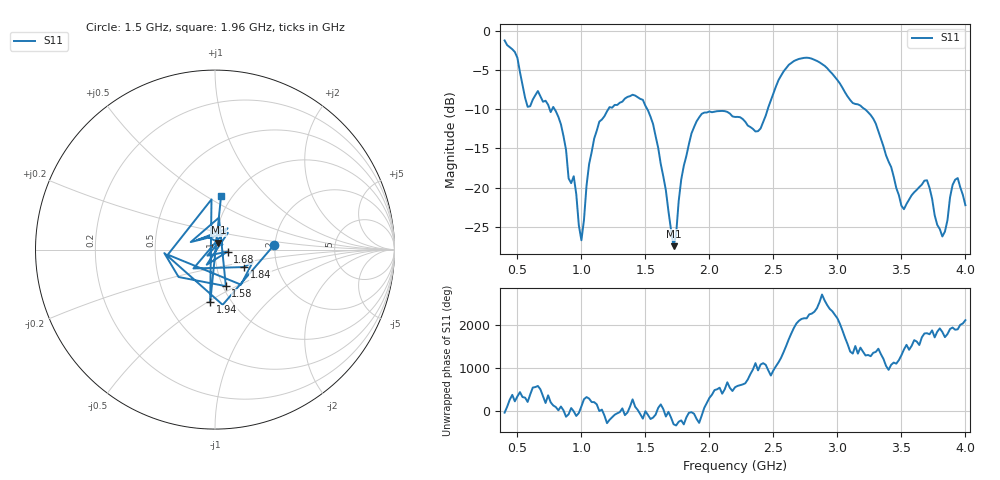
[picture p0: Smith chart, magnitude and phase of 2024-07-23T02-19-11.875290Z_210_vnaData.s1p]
!Created with skrf (http://scikit-rf.org).
# Hz S RI R 50.0
!freq ReS11 ImS11
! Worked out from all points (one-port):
!   181 points, 400 MHz to 4 GHz, reference 50 ohm
!   lowest |S11| = -27.4 dB at 1.72 GHz (marker M1), VSWR 1.09, Z = 51.8 + j3.94 ohm
!   |S11| at or under -10 dB: 790.5 MHz to 1.21 GHz (419.8 MHz wide, 42 % of centre); 1.515 GHz to 2.456 GHz (941.1 MHz wide, 47.4 % of centre); 3.214 GHz to end of sweep (the widest 3 of 4)
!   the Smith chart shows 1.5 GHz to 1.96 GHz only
!   S11 on the Smith chart (normalised r, x): 1.5 GHz: 1.98, +0.12; 1.58 GHz: 1.03, -0.44; 1.68 GHz: 1.15, -0.03; 1.84 GHz: 1.36, -0.27; 1.94 GHz: 0.80, -0.52; 1.96 GHz: 0.89, +0.58
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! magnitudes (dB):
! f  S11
! 400 MHz  -1.3
! 500 MHz  -3.5
! 580 MHz  -9.7
! 660 MHz  -7.7
! 860 MHz  -13.4
! 940 MHz  -18.5
! 1 GHz  -26.7
! 1.1 GHz  -13.7
! 1.3 GHz  -9.2
! 1.5 GHz  -9.6
! 1.58 GHz  -13.5
! 1.68 GHz  -23.0
! 1.72 GHz  -27.4
! 1.76 GHz  -21.7
! 1.84 GHz  -14.4
! 1.94 GHz  -10.6
! 1.96 GHz  -10.4
! 2.2 GHz  -11.0
! 2.38 GHz  -12.8
! 2.66 GHz  -3.9
! 3.1 GHz  -8.8
! 3.28 GHz  -11.2
! 3.5 GHz  -22.3
! 3.56 GHz  -21.5
! 3.7 GHz  -19.0
! 3.82 GHz  -26.2
! 3.92 GHz  -19.0
! 4 GHz  -22.2
